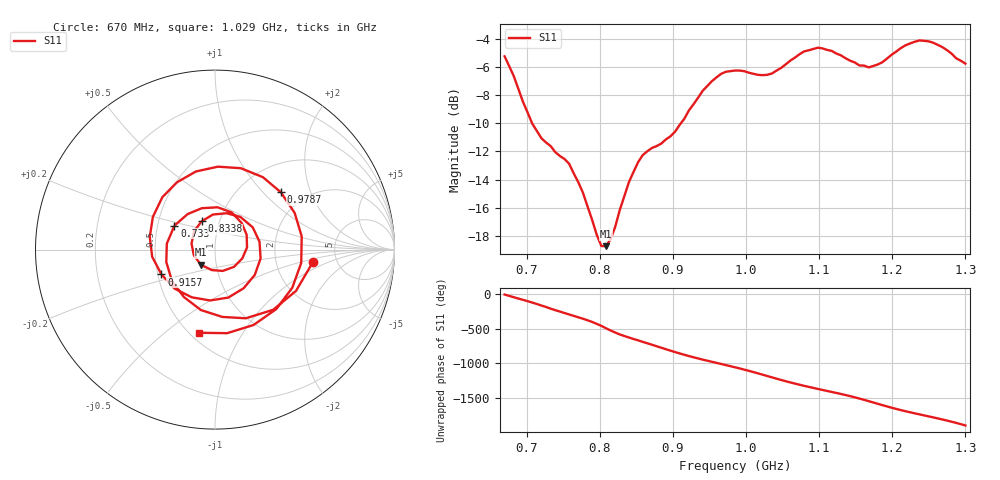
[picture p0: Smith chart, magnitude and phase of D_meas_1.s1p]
# HZ S RI R 50
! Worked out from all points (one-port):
!   101 points, 670 MHz to 1.3 GHz, reference 50 ohm
!   lowest |S11| = -18.8 dB at 808.6 MHz (marker M1), VSWR 1.26, Z = 42.2 - j7.23 ohm
!   |S11| at or under -10 dB: 707.7 MHz to 910.8 MHz (203 MHz wide, 25.1 % of centre)
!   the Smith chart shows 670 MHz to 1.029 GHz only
!   S11 on the Smith chart (normalised r, x): 670 MHz: 3.29, -0.66; 733 MHz: 0.61, +0.18; 833.8 MHz: 0.82, +0.27; 915.7 MHz: 0.52, -0.16; 978.7 MHz: 1.52, +1.27; 1.029 GHz: 0.55, -0.66
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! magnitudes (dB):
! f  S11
! 670 MHz  -5.2
! 707.8 MHz  -10.0
! 720.4 MHz  -11.1
! 733 MHz  -11.6
! 751.9 MHz  -12.5
! 758.2 MHz  -12.9
! 777.1 MHz  -14.9
! 802.3 MHz  -18.7
! 808.6 MHz  -18.8
! 814.9 MHz  -18.3
! 827.5 MHz  -16.2
! 833.8 MHz  -15.2
! 840.1 MHz  -14.2
! 859 MHz  -12.2
! 896.8 MHz  -10.9
! 909.4 MHz  -10.1
! 915.7 MHz  -9.7
! 953.5 MHz  -7.0
! 978.7 MHz  -6.3
! 985 MHz  -6.2
! 1.029 GHz  -6.5
! 1.067 GHz  -5.3
! 1.098 GHz  -4.6
! 1.143 GHz  -5.5
! 1.168 GHz  -6.0
! 1.224 GHz  -4.3
! 1.256 GHz  -4.2
! 1.3 GHz  -5.7
